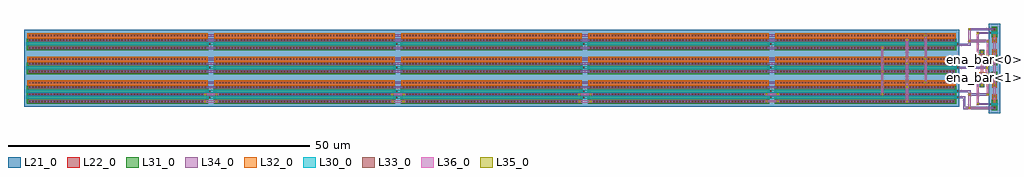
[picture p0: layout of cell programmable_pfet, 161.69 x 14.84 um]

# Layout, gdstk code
from math import pi, radians
import gdstk
lib = gdstk.Library(unit=1e-6, precision=5e-09)
def R(c, l, rs):  # rectangles x0, y0, x1, y1
    for r in rs: c.add(gdstk.rectangle(r[:2], r[2:], *l))
def A(c, l, x, y, w, h, nx, ny, dx, dy):  # array of equal rectangles
    R(c, l, [(x+i*dx, y+j*dy, x+i*dx+w, y+j*dy+h) for i in range(nx) for j in range(ny)])
L21_0 = (21, 0)
L22_0 = (22, 0)
L30_0 = (30, 0)
L31_0 = (31, 0)
L32_0 = (32, 0)
L33_0 = (33, 0)
L34_0 = (34, 0)
L35_0 = (35, 0)
L36_0 = (36, 0)

pfet_2 = lib.new_cell('pfet$2')

pfet_2_1 = lib.new_cell('pfet$2$1')
R(pfet_2_1, L21_0, [(-1.15,-0.69,2.76,30.29)])
R(pfet_2_1, L22_0, [(-0.46,0,0,29.6), (0,0,0.88,29.6), (0.88,0,1.34,29.6), (1.34,0,2.07,29.6)])
R(pfet_2_1, L30_0, [(0.19,-0.3,0.69,29.9), (0.19,29.9,0.69,30.28)])
R(pfet_2_1, L31_0, [(-0.63,-0.24,1.34,29.84)])
R(pfet_2_1, L32_0, [(1.34,-0.17,2.24,29.77)])
A(pfet_2_1, L33_0, -0.34, 0.155, 0.22, 0.22, 1, 58, 0, 0.51)
A(pfet_2_1, L33_0, 1, 0.155, 0.22, 0.22, 1, 58, 0, 0.51)
A(pfet_2_1, L33_0, 1.73, 0.155, 0.22, 0.22, 1, 58, 0, 0.51)
R(pfet_2_1, L33_0, [(0.33,29.98,0.55,30.2)])
R(pfet_2_1, L34_0, [(-0.42,0.075,-0.04,29.525), (0.92,0.075,1.3,29.525), (1.65,0.075,2.03,29.525), (0.25,29.9,0.63,30.28)])

pfet_3 = lib.new_cell('pfet$3')
R(pfet_3, L21_0, [(-1.15,-0.69,3.78,30.29)])
R(pfet_3, L22_0, [(-0.46,0,0,29.6), (0,0,1.9,29.6), (1.9,0,2.36,29.6), (2.36,0,3.09,29.6)])
R(pfet_3, L30_0, [(0.19,-0.3,0.69,29.9), (1.21,-0.3,1.71,29.9), (0.19,29.9,0.69,30.28), (1.21,29.9,1.71,30.28)])
R(pfet_3, L31_0, [(-0.63,-0.24,2.36,29.84)])
R(pfet_3, L32_0, [(2.36,-0.17,3.26,29.77)])
A(pfet_3, L33_0, -0.34, 0.155, 0.22, 0.22, 3, 58, 1.18, 0.51)
A(pfet_3, L33_0, 2.75, 0.155, 0.22, 0.22, 1, 58, 0, 0.51)
R(pfet_3, L33_0, [(0.33,29.98,0.55,30.2), (1.35,29.98,1.57,30.2)])
A(pfet_3, L34_0, -0.42, 0.075, 0.38, 29.45, 3, 1, 1.18, 0)
R(pfet_3, L34_0, [(2.67,0.075,3.05,29.525), (0.25,29.9,0.63,30.28), (1.27,29.9,1.65,30.28)])

pfet_4 = lib.new_cell('pfet$4')
R(pfet_4, L21_0, [(-1.16,-0.71,2.55,1.13)])
R(pfet_4, L22_0, [(-0.46,-0.01,0,0.43), (0.66,-0.01,1.12,0.43), (1.12,-0.01,1.85,0.43), (0,0,0.66,0.42)])
R(pfet_4, L30_0, [(0.19,-0.3,0.47,0.72), (0.14,0.72,0.52,1.1)])
R(pfet_4, L31_0, [(-0.63,-0.25,1.12,0.67)])
R(pfet_4, L32_0, [(1.12,-0.17,2.02,0.59)])
R(pfet_4, L33_0, [(-0.34,0.1,-0.12,0.32), (0.78,0.1,1,0.32), (1.51,0.1,1.73,0.32), (0.22,0.8,0.44,1.02)])
R(pfet_4, L34_0, [(-0.42,0.02,-0.04,0.4), (0.7,0.02,1.08,0.4), (1.43,0.02,1.81,0.4), (0.14,0.72,0.52,1.1)])

nfet = lib.new_cell('nfet')
R(nfet, L22_0, [(-0.42,-0.01,0,0.43), (0.66,-0.01,1.08,0.43), (1.08,-0.01,1.79,0.43), (0,0,0.66,0.42)])
R(nfet, L30_0, [(0.19,-0.3,0.47,0.72), (0.15,0.72,0.51,1.08)])
R(nfet, L31_0, [(1.08,-0.17,1.96,0.59)])
R(nfet, L32_0, [(-0.59,-0.25,1.08,0.67)])
R(nfet, L33_0, [(-0.32,0.1,-0.1,0.32), (0.76,0.1,0.98,0.32), (1.47,0.1,1.69,0.32), (0.22,0.79,0.44,1.01)])
R(nfet, L34_0, [(-0.4,0.02,-0.02,0.4), (0.68,0.02,1.06,0.4), (1.39,0.02,1.77,0.4), (0.14,0.71,0.52,1.09)])

pfet = lib.new_cell('pfet')

pfet_1 = lib.new_cell('pfet$1')
R(pfet_1, L21_0, [(-1.16,-0.71,2.55,1.13)])
R(pfet_1, L22_0, [(-0.46,-0.01,0,0.43), (0.66,-0.01,1.12,0.43), (1.12,-0.01,1.85,0.43), (0,0,0.66,0.42)])
R(pfet_1, L30_0, [(0.19,-0.3,0.47,0.72), (0.14,0.72,0.52,1.1)])
R(pfet_1, L31_0, [(-0.63,-0.25,1.12,0.67)])
R(pfet_1, L32_0, [(1.12,-0.17,2.02,0.59)])
R(pfet_1, L33_0, [(-0.34,0.1,-0.12,0.32), (0.78,0.1,1,0.32), (1.51,0.1,1.73,0.32), (0.22,0.8,0.44,1.02)])
R(pfet_1, L34_0, [(-0.42,0.02,-0.04,0.4), (0.7,0.02,1.08,0.4), (1.43,0.02,1.81,0.4), (0.14,0.72,0.52,1.1)])

transmission_gate = lib.new_cell('transmission_gate')
R(transmission_gate, L34_0, [(-1.54,-0.6,0.915,-0.225), (-1.54,0.48,0.915,0.895)])
transmission_gate.add(gdstk.Reference(nfet, (0.515,0.46), rotation=3*pi/2))
transmission_gate.add(gdstk.Reference(pfet, (-1.075,0.09), rotation=3*pi/2))
transmission_gate.add(gdstk.Reference(pfet, (-0.98,0.115), rotation=3*pi/2))
transmission_gate.add(gdstk.Reference(pfet, (-0.925,-0.105), rotation=3*pi/2))
transmission_gate.add(gdstk.Reference(pfet, (-1.045,0.115), rotation=3*pi/2))
transmission_gate.add(gdstk.Reference(pfet, (-3.895,0.255), rotation=3*pi/2))
transmission_gate.add(gdstk.Reference(pfet, (-4.225,0.69), rotation=3*pi/2))
transmission_gate.add(gdstk.Reference(pfet, (-3.75,0.445), rotation=3*pi/2))
transmission_gate.add(gdstk.Reference(pfet, (-4.065,-0.635), rotation=3*pi/2))
transmission_gate.add(gdstk.Reference(pfet, (-4.08,-0.7), rotation=3*pi/2))
transmission_gate.add(gdstk.Reference(pfet, (-4.065,-0.57), rotation=3*pi/2))
transmission_gate.add(gdstk.Reference(pfet, (-1.45,0.065), rotation=3*pi/2))
transmission_gate.add(gdstk.Reference(pfet, (-1.48,0.125), rotation=3*pi/2))
transmission_gate.add(gdstk.Reference(pfet, (-1.645,0.065), rotation=3*pi/2))
transmission_gate.add(gdstk.Reference(pfet, (-0.11,-0.01), rotation=3*pi/2))
transmission_gate.add(gdstk.Reference(pfet, (-0.335,0.205), rotation=3*pi/2))
transmission_gate.add(gdstk.Reference(pfet, (-1.17,0.295), rotation=3*pi/2))
transmission_gate.add(gdstk.Reference(pfet_1, (-1.14,0.475), rotation=3*pi/2, x_reflection=True))
transmission_gate.add(gdstk.Label('in', (-0.32,0.68), layer=34, texttype=10))
transmission_gate.add(gdstk.Label('out', (-0.345,-0.395), layer=34, texttype=10))
transmission_gate.add(gdstk.Label('VDD', (-1.36,-1.17), layer=34, texttype=10))
transmission_gate.add(gdstk.Label('VSS', (0.72,-1.135), layer=34, texttype=10))
transmission_gate.add(gdstk.Label('ena_bar', (-2.055,0.15), layer=34, texttype=10))
transmission_gate.add(gdstk.Label('ena', (1.385,0.1), layer=34, texttype=10))

pfet_7 = lib.new_cell('pfet$7')
R(pfet_7, L21_0, [(-1.16,-0.71,2.55,1.13)])
R(pfet_7, L22_0, [(-0.46,-0.01,0,0.43), (0.66,-0.01,1.12,0.43), (1.12,-0.01,1.85,0.43), (0,0,0.66,0.42)])
R(pfet_7, L30_0, [(0.14,-0.68,0.52,-0.3), (0.19,-0.3,0.47,0.72)])
R(pfet_7, L31_0, [(-0.63,-0.25,1.12,0.67)])
R(pfet_7, L32_0, [(1.12,-0.17,2.02,0.59)])
R(pfet_7, L33_0, [(0.22,-0.6,0.44,-0.38), (-0.34,0.1,-0.12,0.32), (0.78,0.1,1,0.32), (1.51,0.1,1.73,0.32)])
R(pfet_7, L34_0, [(0.14,-0.68,0.52,-0.3), (-0.42,0.02,-0.04,0.4), (0.7,0.02,1.08,0.4), (1.43,0.02,1.81,0.4)])

programmable_pfet = lib.new_cell('programmable_pfet')
R(programmable_pfet, L30_0, [(-199.27,78.495,-198.155,78.995), (-168.295,78.495,-167.18,78.995), (-137.37,78.5,-136.255,79), (-106.39,78.5,-105.275,79), (-199.27,79.515,-198.155,80.015), (-168.295,79.515,-167.18,80.015), (-137.35,79.52,-136.235,80.02), (-106.375,79.52,-105.26,80.02), (-199.3,83.425,-198.185,83.925), (-168.36,83.425,-167.245,83.925), (-137.32,83.43,-136.205,83.93), (-106.395,83.43,-105.28,83.93), (-199.29,87.335,-198.175,87.835), (-168.315,87.335,-167.2,87.835), (-137.395,87.34,-136.28,87.84), (-106.435,87.34,-105.32,87.84)])
R(programmable_pfet, L34_0, [(-74.24,76.795,-73.03,77.15), (-74.225,76.795,-73.895,78.915), (-73.415,76.795,-69.26,77.165), (-69.26,76.795,-68.88,77.225), (-72.025,77.5,-69.96,77.785), (-75.325,78.56,-73.98,78.92), (-73.41,79.04,-73.02,79.96), (-73.4,79.045,-69.99,79.425), (-75.315,79.585,-73.03,79.96), (-229.02,80.245,-75.69,80.615), (-229.015,80.98,-75.685,81.35), (-229,82.825,-75.67,83.195), (-75.325,83.455,-72.825,83.85), (-73.4,83.455,-70.135,83.835), (-229.02,84.155,-75.69,84.525), (-229.02,84.905,-75.69,85.275), (-229.025,86.74,-75.695,87.11), (-75.32,87.26,-73,87.605), (-73.4,87.435,-72.97,88.245), (-73.41,87.865,-70,88.245), (-229.015,88.07,-75.685,88.44), (-229.03,88.805,-75.7,89.175), (-72.025,89.26,-69.96,89.545), (-73.415,89.87,-69.26,90.2)])
A(programmable_pfet, L35_0, -80.61, 81.04, 0.26, 0.26, 1, 3, 0, 3.91)
R(programmable_pfet, L35_0, [(-73.36,76.84,-73.1,77.1), (-71.93,77.5,-71.67,77.76), (-199.945,77.94,-199.685,78.2), (-198.05,77.94,-197.79,78.2), (-168.945,77.945,-168.685,78.205), (-167.05,77.945,-166.79,78.205), (-137.97,77.945,-137.71,78.205), (-136.075,77.945,-135.815,78.205), (-106.995,77.95,-106.735,78.21), (-105.1,77.95,-104.84,78.21), (-83.675,77.955,-83.415,78.215), (-69.2,78.03,-68.94,78.29), (-69.2,78.75,-68.94,79.01), (-73.34,79.105,-73.08,79.365), (-73.34,79.105,-73.08,79.365), (-168.955,79.115,-168.695,79.375), (-167.06,79.115,-166.8,79.375), (-137.98,79.115,-137.72,79.375), (-136.085,79.115,-135.825,79.375), (-70.305,79.115,-70.045,79.375), (-199.935,79.12,-199.675,79.38), (-198.04,79.12,-197.78,79.38), (-87.755,79.13,-87.495,79.39), (-106.99,79.135,-106.73,79.395), (-105.095,79.135,-104.835,79.395), (-83.665,80.31,-83.405,80.57), (-69.205,80.615,-68.945,80.875), (-71.28,80.635,-71.02,80.895), (-70.305,81.35,-70.045,81.61), (-71.965,81.89,-71.705,82.15), (-70.42,82.455,-70.16,82.715), (-87.755,82.875,-87.495,83.135), (-70.435,83.515,-70.175,83.775), (-83.665,84.22,-83.405,84.48), (-70.415,84.345,-70.155,84.605), (-71.975,84.905,-71.715,85.165), (-70.34,85.44,-70.08,85.7), (-71.275,86.145,-71.015,86.405), (-69.2,86.175,-68.94,86.435), (-87.75,86.79,-87.49,87.05), (-70.32,87.9,-70.06,88.16), (-73.34,87.915,-73.08,88.175), (-69.2,88.035,-68.94,88.295), (-83.665,88.125,-83.405,88.385), (-69.2,88.765,-68.94,89.025), (-71.965,89.27,-71.705,89.53), (-73.35,89.91,-73.09,90.17)])
R(programmable_pfet, L36_0, [(-73.415,76.795,-73.02,79.43), (-72.025,77.425,-71.645,82.21), (-199.99,77.885,-197.7,78.265), (-168.99,77.89,-166.7,78.27), (-138.015,77.89,-135.725,78.27), (-83.745,77.89,-83.365,88.44), (-107.04,77.895,-104.75,78.275), (-69.26,77.965,-68.88,89.08), (-70.355,79.045,-69.99,81.665), (-169,79.06,-166.71,79.44), (-138.025,79.06,-135.735,79.44), (-199.98,79.065,-197.69,79.445), (-87.85,79.07,-87.45,87.11), (-107.035,79.08,-104.745,79.46), (-71.335,80.58,-70.955,86.465), (-80.655,80.98,-80.295,89.175), (-70.475,82.37,-70.135,84.675), (-72.025,84.83,-71.645,89.615), (-70.385,85.38,-70.02,88.255), (-73.415,87.865,-73.02,90.2)])
programmable_pfet.add(gdstk.Reference(pfet_2, (-97.995,77.71)))
programmable_pfet.add(gdstk.Reference(pfet_2, (-91.405,83.96)))
programmable_pfet.add(gdstk.Reference(pfet_2, (-113.535,65.205)))
programmable_pfet.add(gdstk.Reference(pfet_2_1, (-105.225,87.15), rotation=pi/2, x_reflection=True))
programmable_pfet.add(gdstk.Reference(pfet_2_1, (-105.225,83.24), rotation=pi/2, x_reflection=True))
programmable_pfet.add(gdstk.Reference(pfet_3, (-105.225,78.31), rotation=pi/2, x_reflection=True))
programmable_pfet.add(gdstk.Reference(pfet_2, (-129.78,77.865)))
programmable_pfet.add(gdstk.Reference(pfet_2, (-123.19,84.115)))
programmable_pfet.add(gdstk.Reference(pfet_2_1, (-136.205,87.15), rotation=pi/2, x_reflection=True))
programmable_pfet.add(gdstk.Reference(pfet_2_1, (-136.205,83.24), rotation=pi/2, x_reflection=True))
programmable_pfet.add(gdstk.Reference(pfet_3, (-136.205,78.31), rotation=pi/2, x_reflection=True))
programmable_pfet.add(gdstk.Reference(pfet_2, (-162.195,78.115)))
programmable_pfet.add(gdstk.Reference(pfet_2, (-155.605,84.365)))
programmable_pfet.add(gdstk.Reference(pfet_2_1, (-167.185,87.145), rotation=pi/2, x_reflection=True))
programmable_pfet.add(gdstk.Reference(pfet_2_1, (-167.185,83.235), rotation=pi/2, x_reflection=True))
programmable_pfet.add(gdstk.Reference(pfet_3, (-167.185,78.305), rotation=pi/2, x_reflection=True))
programmable_pfet.add(gdstk.Reference(pfet_2, (-193.98,78.27)))
programmable_pfet.add(gdstk.Reference(pfet_2, (-187.39,84.52)))
programmable_pfet.add(gdstk.Reference(pfet_2_1, (-198.165,87.145), rotation=pi/2, x_reflection=True))
programmable_pfet.add(gdstk.Reference(pfet_2_1, (-198.165,83.235), rotation=pi/2, x_reflection=True))
programmable_pfet.add(gdstk.Reference(pfet_3, (-198.165,78.305), rotation=pi/2, x_reflection=True))
programmable_pfet.add(gdstk.Reference(pfet_2_1, (-229.145,87.145), rotation=pi/2, x_reflection=True))
programmable_pfet.add(gdstk.Reference(pfet_2_1, (-229.145,83.235), rotation=pi/2, x_reflection=True))
programmable_pfet.add(gdstk.Reference(pfet_3, (-229.145,78.305), rotation=pi/2, x_reflection=True))
programmable_pfet.add(gdstk.Reference(pfet_4, (-68.86,77.265), rotation=pi/2))
programmable_pfet.add(gdstk.Reference(transmission_gate, (-70.42,81.89), rotation=pi, x_reflection=True))
programmable_pfet.add(gdstk.Reference(pfet_7, (-69.28,89.78), rotation=3*pi/2))
programmable_pfet.add(gdstk.Reference(transmission_gate, (-70.42,85.155), rotation=pi))
programmable_pfet.add(gdstk.Label('ena_bar<1>', (-68.395,82.015), layer=34, texttype=10))
programmable_pfet.add(gdstk.Label('ena_bar<0>', (-68.48,84.96), layer=34, texttype=10))
programmable_pfet.add(gdstk.Label('g', (-70.355,83.57), layer=36, texttype=10))
programmable_pfet.add(gdstk.Label('ena<0>', (-71.82,86.735), layer=36, texttype=10))
programmable_pfet.add(gdstk.Label('ena<1>', (-71.955,79.78), layer=36, texttype=10))

lib.write_gds('programmable_pfet.gds')
